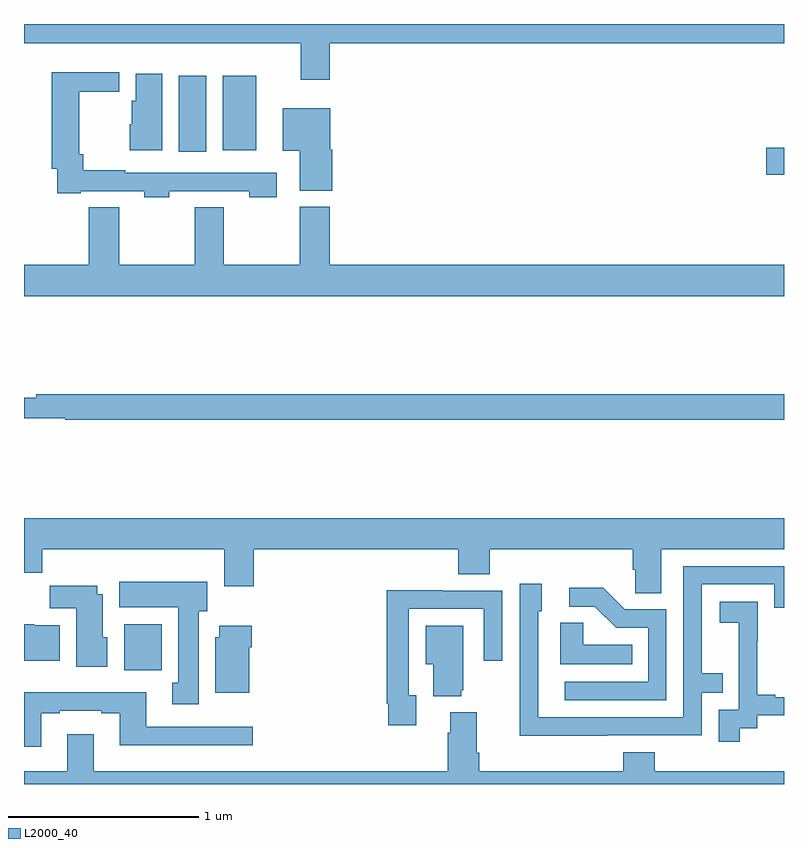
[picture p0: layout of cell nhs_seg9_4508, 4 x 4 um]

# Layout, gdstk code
import gdstk
lib = gdstk.Library(unit=1e-6, precision=1e-09)
def R(c, l, rs):  # rectangles x0, y0, x1, y1
    for r in rs: c.add(gdstk.rectangle(r[:2], r[2:], *l))
def P(c, l, *ps):  # polygons
    for p in ps: c.add(gdstk.Polygon(p, *l))
L2000_40 = (2000, 40)

nhs_seg9_4508 = lib.new_cell('nhs_seg9_4508')
R(nhs_seg9_4508, L2000_40, [(369.527,1213.1,369.724,1213.342), (372.906,1215.706,373,1215.848), (369.815,1215.828,369.958,1216.228), (370.046,1215.836,370.222,1216.228)])
P(nhs_seg9_4508, L2000_40, [(370.61,1216.4),(373,1216.4),(373,1216.5),(369,1216.5),(369,1216.4),(370.457,1216.4),(370.457,1216.206),(370.61,1216.206)],
  [(369.765,1215.621),(370.185,1215.621),(370.185,1215.589),(370.33,1215.589),(370.33,1215.717),(369.533,1215.717),(369.533,1215.73),(369.311,1215.73),(369.311,1215.814),(369.292,1215.814),(369.292,1216.144),(369.502,1216.144),(369.502,1216.246),(369.146,1216.246),(369.146,1215.737),(369.175,1215.737),(369.175,1215.609),(369.298,1215.609),(369.298,1215.621),(369.633,1215.621),(369.633,1215.589),(369.765,1215.589)],
  [(369.727,1216.237),(369.587,1216.237),(369.587,1216.095),(369.566,1216.095),(369.566,1215.972),(369.557,1215.972),(369.557,1215.836),(369.727,1215.836)],
  [(370.622,1215.837),(370.612,1215.837),(370.612,1216.057),(370.361,1216.057),(370.361,1215.833),(370.451,1215.833),(370.451,1215.623),(370.622,1215.623)],
  [(373,1215.232),(370.61,1215.232),(370.61,1215.538),(370.45,1215.538),(370.45,1215.232),(370.052,1215.232),(370.052,1215.536),(369.898,1215.536),(369.898,1215.232),(369.5,1215.232),(369.5,1215.536),(369.341,1215.536),(369.341,1215.232),(369,1215.232),(369,1215.068),(373,1215.068)],
  [(373,1214.552),(369.064,1214.552),(369.064,1214.533),(369,1214.533),(369,1214.424),(369.218,1214.424),(369.218,1214.416),(373,1214.416)],
  [(372.355,1213.736),(373,1213.736),(373,1213.9),(369,1213.9),(369,1213.612),(369.095,1213.612),(369.095,1213.736),(370.055,1213.736),(370.055,1213.542),(370.208,1213.542),(370.208,1213.736),(371.285,1213.736),(371.285,1213.603),(371.45,1213.603),(371.45,1213.736),(372.203,1213.736),(372.203,1213.627),(372.216,1213.627),(372.216,1213.504),(372.355,1213.504)],
  [(372.071,1212.756),(372.567,1212.756),(372.567,1212.981),(372.677,1212.981),(372.677,1213.082),(372.567,1213.082),(372.567,1213.551),(372.948,1213.551),(372.948,1213.428),(373,1213.428),(373,1213.647),(372.471,1213.647),(372.471,1212.852),(371.706,1212.852),(371.706,1213.41),(371.725,1213.41),(371.725,1213.555),(371.61,1213.555),(371.61,1213.061),(371.608,1213.061),(371.608,1212.755),(372.071,1212.755)],
  [(369.919,1213.41),(369.964,1213.41),(369.964,1213.564),(369.5,1213.564),(369.5,1213.43),(369.812,1213.43),(369.812,1213.034),(369.779,1213.034),(369.779,1212.921),(369.919,1212.921)],
  [(369.439,1213.272),(369.415,1213.272),(369.415,1213.498),(369.385,1213.498),(369.385,1213.543),(369.136,1213.543),(369.136,1213.424),(369.275,1213.424),(369.275,1213.118),(369.439,1213.118)],
  [(372.381,1213.419),(372.162,1213.419),(372.049,1213.532),(371.871,1213.532),(371.871,1213.434),(372.005,1213.434),(372.116,1213.323),(372.285,1213.323),(372.285,1213.038),(371.847,1213.038),(371.847,1212.942),(372.381,1212.942)],
  [(371.065,1212.966),(371.025,1212.966),(371.025,1213.422),(371.421,1213.422),(371.421,1213.149),(371.517,1213.149),(371.517,1213.518),(371.201,1213.518),(371.201,1213.52),(370.909,1213.52),(370.909,1212.922),(370.917,1212.922),(370.917,1212.81),(371.065,1212.81)],
  [(372.766,1212.793),(372.858,1212.793),(372.858,1212.861),(373,1212.861),(373,1212.957),(372.955,1212.957),(372.955,1212.97),(372.86,1212.97),(372.86,1213.253),(372.861,1213.253),(372.861,1213.459),(372.663,1213.459),(372.663,1213.349),(372.761,1213.349),(372.761,1213.121),(372.762,1213.121),(372.762,1212.891),(372.657,1212.891),(372.657,1212.723),(372.766,1212.723)],
  [(372.2,1213.234),(371.943,1213.234),(371.943,1213.349),(371.822,1213.349),(371.822,1213.13),(372.2,1213.13)],
  [(369.187,1213.336),(369.054,1213.336),(369.054,1213.342),(369,1213.342),(369,1213.148),(369.187,1213.148)],
  [(370.186,1213.22),(370.199,1213.22),(370.199,1213.333),(370.028,1213.333),(370.028,1213.272),(370.007,1213.272),(370.007,1212.98),(370.186,1212.98)],
  [(371.3,1212.993),(371.311,1212.993),(371.311,1213.333),(371.114,1213.333),(371.114,1213.13),(371.153,1213.13),(371.153,1212.962),(371.3,1212.962)],
  [(369.091,1212.873),(369.187,1212.873),(369.187,1212.885),(369.407,1212.885),(369.407,1212.873),(369.503,1212.873),(369.503,1212.704),(370.204,1212.704),(370.204,1212.801),(369.643,1212.801),(369.643,1212.982),(369,1212.982),(369,1212.696),(369.091,1212.696)],
  [(372.155,1212.568),(371.396,1212.568),(371.396,1212.664),(371.383,1212.664),(371.383,1212.877),(371.243,1212.877),(371.243,1212.77),(371.231,1212.77),(371.231,1212.568),(369.367,1212.568),(369.367,1212.763),(369.227,1212.763),(369.227,1212.568),(369,1212.568),(369,1212.5),(373,1212.5),(373,1212.568),(372.32,1212.568),(372.32,1212.667),(372.155,1212.667)])

lib.write_gds('nhs_seg9_4508.gds')
